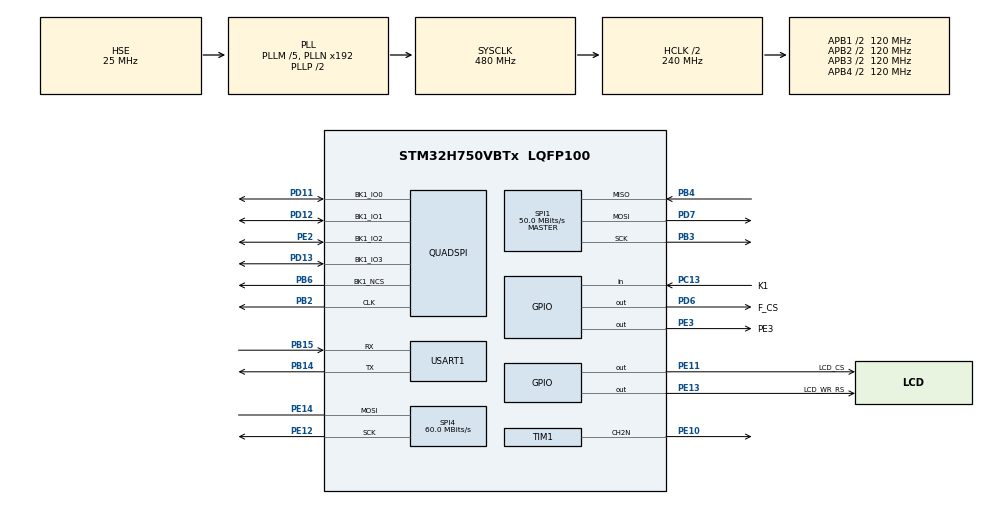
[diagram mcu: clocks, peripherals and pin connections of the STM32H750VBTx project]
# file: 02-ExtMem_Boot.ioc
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CORTEX_M7.CPU_DCache=Enabled
CORTEX_M7.CPU_ICache=Enabled
CORTEX_M7.MPU_Control=__NULL
FATFS._MAX_SS=4096
FATFS._USE_LFN=2
Mcu.Family=STM32H7
Mcu.Name=STM32H750VBTx
Mcu.Package=LQFP100
NVIC.PriorityGroup=NVIC_PRIORITYGROUP_4
PA13\ (JTMS/SWDIO).Mode=Serial_Wire
PA13\ (JTMS/SWDIO).Signal=DEBUG_JTMS-SWDIO
PA14\ (JTCK/SWCLK).Mode=Serial_Wire
PA14\ (JTCK/SWCLK).Signal=DEBUG_JTCK-SWCLK
PB14.Mode=Asynchronous
PB14.Signal=USART1_TX
PB15.Mode=Asynchronous
PB15.Signal=USART1_RX
PB2.GPIO_Speed=GPIO_SPEED_FREQ_VERY_HIGH
PB2.Mode=Single Bank 1
PB2.Signal=QUADSPI_CLK
PB3\ (JTDO/TRACESWO).GPIO_Speed=GPIO_SPEED_FREQ_VERY_HIGH
PB3\ (JTDO/TRACESWO).Mode=Full_Duplex_Master
PB3\ (JTDO/TRACESWO).Signal=SPI1_SCK
PB4\ (NJTRST).GPIO_Speed=GPIO_SPEED_FREQ_VERY_HIGH
PB4\ (NJTRST).Mode=Full_Duplex_Master
PB4\ (NJTRST).Signal=SPI1_MISO
PB6.GPIO_PuPd=GPIO_NOPULL
PB6.GPIO_Speed=GPIO_SPEED_FREQ_VERY_HIGH
PB6.Mode=Single Bank 1
PB6.Signal=QUADSPI_BK1_NCS
PC13.GPIO_Label=K1
PC13.GPIO_PuPd=GPIO_PULLDOWN
PC13.Signal=GPIO_Input
PC14-OSC32_IN\ (OSC32_IN).Mode=LSE-External-Oscillator
PC14-OSC32_IN\ (OSC32_IN).Signal=RCC_OSC32_IN
PC15-OSC32_OUT\ (OSC32_OUT).Mode=LSE-External-Oscillator
PC15-OSC32_OUT\ (OSC32_OUT).Signal=RCC_OSC32_OUT
PD11.GPIO_Speed=GPIO_SPEED_FREQ_VERY_HIGH
PD11.Mode=Single Bank 1
PD11.Signal=QUADSPI_BK1_IO0
PD12.GPIO_Speed=GPIO_SPEED_FREQ_VERY_HIGH
PD12.Mode=Single Bank 1
PD12.Signal=QUADSPI_BK1_IO1
PD13.GPIO_Speed=GPIO_SPEED_FREQ_VERY_HIGH
PD13.Mode=Single Bank 1
PD13.Signal=QUADSPI_BK1_IO3
PD6.GPIO_Label=F_CS
PD6.GPIO_Speed=GPIO_SPEED_FREQ_VERY_HIGH
PD6.PinState=GPIO_PIN_SET
PD6.Signal=GPIO_Output
PD7.GPIO_Speed=GPIO_SPEED_FREQ_VERY_HIGH
PD7.Mode=Full_Duplex_Master
PD7.Signal=SPI1_MOSI
PE10.Mode=PWM Generation2 CH2N
PE10.Signal=TIM1_CH2N
PE11.GPIO_Label=LCD_CS
PE11.GPIO_Speed=GPIO_SPEED_FREQ_VERY_HIGH
PE11.PinState=GPIO_PIN_SET
PE11.Signal=GPIO_Output
PE12.GPIO_Speed=GPIO_SPEED_FREQ_VERY_HIGH
PE12.Mode=Simplex_Bidirectional_Master
PE12.Signal=SPI4_SCK
PE13.GPIO_Label=LCD_WR_RS
PE13.GPIO_Speed=GPIO_SPEED_FREQ_VERY_HIGH
PE13.PinState=GPIO_PIN_SET
PE13.Signal=GPIO_Output
PE14.GPIO_Speed=GPIO_SPEED_FREQ_VERY_HIGH
PE14.Mode=Simplex_Bidirectional_Master
PE14.Signal=SPI4_MOSI
PE2.GPIO_Speed=GPIO_SPEED_FREQ_VERY_HIGH
PE2.Mode=Single Bank 1
PE2.Signal=QUADSPI_BK1_IO2
PE3.GPIO_Label=PE3
PE3.Signal=GPIO_Output
PH0-OSC_IN\ (PH0).Mode=HSE-External-Oscillator
PH0-OSC_IN\ (PH0).Signal=RCC_OSC_IN
PH1-OSC_OUT\ (PH1).Mode=HSE-External-Oscillator
PH1-OSC_OUT\ (PH1).Signal=RCC_OSC_OUT
ProjectManager.HeapSize=0x3000
ProjectManager.StackSize=0x3000
ProjectManager.TargetToolchain=MDK-ARM V5.27
QUADSPI.ChipSelectHighTime=QSPI_CS_HIGH_TIME_8_CYCLE
QUADSPI.ClockMode=QSPI_CLOCK_MODE_3
QUADSPI.ClockPrescaler=3
QUADSPI.FifoThreshold=32
QUADSPI.FlashSize=23-1
QUADSPI.SampleShifting=QSPI_SAMPLE_SHIFTING_HALFCYCLE
RCC.ADCFreq_Value=200000000
RCC.APB1Freq_Value=120000000
RCC.APB2Freq_Value=120000000
RCC.APB3Freq_Value=120000000
RCC.APB4Freq_Value=120000000
RCC.CortexFreq_Value=480000000
RCC.D1PPRE=RCC_APB3_DIV2
RCC.D2PPRE1=RCC_APB1_DIV2
RCC.D2PPRE2=RCC_APB2_DIV2
RCC.D3PPRE=RCC_APB4_DIV2
RCC.DIVM1=5
RCC.DIVM2=2
RCC.DIVM3=4
RCC.DIVN1=192
RCC.DIVN2=32
RCC.DIVN3=96
RCC.DIVR1=4
RCC.HCLKFreq_Value=240000000
RCC.HPRE=RCC_HCLK_DIV2
RCC.HSE_VALUE=25000000
RCC.PLL2FRACN=0
RCC.PLL3FRACN=0
RCC.PLLFRACN=0
RCC.PLLSourceVirtual=RCC_PLLSOURCE_HSE
RCC.RTCClockSelection=RCC_RTCCLKSOURCE_LSE
RCC.SPI123CLockSelection=RCC_SPI123CLKSOURCE_PLL2
RCC.SYSCLKFreq_VALUE=480000000
RCC.SYSCLKSource=RCC_SYSCLKSOURCE_PLLCLK
RCC.SupplySource=PWR_LDO_SUPPLY
RCC.USBCLockSelection=RCC_USBCLKSOURCE_HSI48
RCC.USBFreq_Value=48000000
SPI1.BaudRatePrescaler=SPI_BAUDRATEPRESCALER_4
SPI1.CalculateBaudRate=50.0 MBits/s
SPI1.DataSize=SPI_DATASIZE_8BIT
SPI1.Direction=SPI_DIRECTION_2LINES
SPI1.Mode=SPI_MODE_MASTER
SPI1.VirtualType=VM_MASTER
SPI4.CalculateBaudRate=60.0 MBits/s
SPI4.DataSize=SPI_DATASIZE_8BIT
SPI4.Direction=SPI_DIRECTION_1LINE
SPI4.Mode=SPI_MODE_MASTER
SPI4.VirtualType=VM_MASTER
TIM1.Channel-PWM\ Generation2\ CH2N=TIM_CHANNEL_2
TIM1.OCNPolarity_2=TIM_OCNPOLARITY_LOW
TIM1.Period=1000-1
TIM1.Prescaler=12-1
USART1.VirtualMode-Asynchronous=VM_ASYNC
VP_FATFS_VS_Generic.Mode=User_defined
board=custom

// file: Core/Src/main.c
/* USER CODE BEGIN Header */
/**
  ******************************************************************************
  * @file           : main.c
  * @brief          : Main program body
  ******************************************************************************
  * @attention
  *
  * <h2><center>&copy; Copyright (c) 2020 STMicroelectronics.
  * All rights reserved.</center></h2>
  *
  * This software component is licensed by ST under BSD 3-Clause license,
  * the "License"; You may not use this file except in compliance with the
  * License. You may obtain a copy of the License at:
  *                        opensource.org/licenses/BSD-3-Clause
  *
  ******************************************************************************
  */
/* USER CODE END Header */
#include "main.h"
#include "fatfs.h"
#include "tim.h"
#include "usart.h"
#include "gpio.h"

/* USER CODE BEGIN Includes */
#include "w25qxx_qspi.h"
#include "spi.h"
#include "fatfs.h"
#include <stdio.h>
#include "lcd.h"
/* USER CODE END Includes */

/* USER CODE BEGIN PTD */
extern QSPI_HandleTypeDef hqspi;
#define W25Qxx_TEST              (0)
#define APPLICATION_ADDRESS      QSPI_BASE
#define ISP_ADDRESS              (0x1FF09800UL)
typedef  void (*pFunction)(void);
/* USER CODE END PTD */

/* USER CODE BEGIN PV */
pFunction JumpToApplication;
/* USER CODE END PV */

void SystemClock_Config(void);
/* USER CODE BEGIN PFP */
static void CPU_CACHE_Disable(void);
/* USER CODE END PFP */

/* USER CODE BEGIN 0 */
#if W25Qxx_TEST == (1)
uint8_t read[4096];
uint8_t write[4096];
#endif

uint8_t app_IsReady(uint32_t addr)
{
	if(((*(__IO uint32_t*)addr) & 0x2FF80000 ) == 0x24000000)
		return SUCCESS;
	else if(((*(__IO uint32_t*)addr) & 0x2FF80000 ) == 0x20000000)
		return SUCCESS;
	else
		return ERROR;
}

void app_Jump(uint32_t addr)
{
	pFunction JumpToApplication;
	uint32_t JumpAddress;

	/* Jump to user application */
	JumpAddress = *(__IO uint32_t*) (addr + 4);
	JumpToApplication = (pFunction) JumpAddress;

	/* Initialize user application's Stack Pointer */
	__set_MSP(*(__IO uint32_t*) addr);
	JumpToApplication();
}

/* USER CODE END 0 */

int main(void)
{

  /* Enable I-Cache---------------------------------------------------------*/
  SCB_EnableICache();

  /* Enable D-Cache---------------------------------------------------------*/
  SCB_EnableDCache();

  /* MCU Configuration--------------------------------------------------------*/

  /* Reset of all peripherals, Initializes the Flash interface and the Systick. */
  HAL_Init();

  /* Configure the system clock */
  SystemClock_Config();

  /* Initialize all configured peripherals */
  MX_GPIO_Init();
  MX_SPI1_Init();
  MX_USART1_UART_Init();
  MX_FATFS_Init();
  MX_SPI4_Init();
  MX_TIM1_Init();
  /* USER CODE BEGIN 2 */
	LCD_Init();
	LCD_ShowString(0,0,160,20,16,(uint8_t*)"bootloader");
	printf("stm32h750vbt6 bootloder start!\r\n");
	/* QPIMode && NormalMode : 100Mhz Clk can run to App, Normal */
	/* QPIMode && DTRMode    : 100Mhz Clk can not run to App, need lower Clk, Recommend 50Mhz */
	/* SPIMode && NormalMode : 100Mhz Clk can run to App, Normal */
	/* SPIMode && DTRMode    : 100Mhz Clk can not run to App, need lower Clk, Recommend 50Mhz*/

	/* QPIMode && NormalMode : 120Mhz Clk can not run to App, UnNormal */
	/* QPIMode && DTRMode    : 120Mhz Clk can not run to App, need lower Clk, Recommend 60Mhz */
	/* SPIMode && NormalMode : 120Mhz Clk can run to App, Normal */
	/* SPIMode && DTRMode    : 120Mhz Clk can not run to App, need lower Clk, Recommend 60Mhz*/

	w25qxx_Init();

	w25qxx_EnterQPI();
	fatfs_test();
#if W25Qxx_TEST == (1)
	W25qxx_EraseSector(0);
	for(uint32_t j=0;j<sizeof(write);j+=256)
		for(uint32_t i=0;i<=0xff;i++)
			write[j+i] = i;
	W25qxx_WriteNoCheck(write,0,sizeof(write));
	W25qxx_Read(read,0,sizeof(read));
#endif
	w25qxx_Startup(w25qxx_DTRMode);

#if W25Qxx_TEST == (0)
  /* Reset MCU && Long Press K1 to Enter ISP Mode */
	if(HAL_GPIO_ReadPin(K1_GPIO_Port,K1_Pin) == GPIO_PIN_SET)
	{
		HAL_Delay(50);
		while(HAL_GPIO_ReadPin(K1_GPIO_Port,K1_Pin) == GPIO_PIN_SET)
		{
			HAL_GPIO_TogglePin(PE3_GPIO_Port,PE3_Pin);
			HAL_Delay(80);
		}
		HAL_QSPI_DeInit(&hqspi);
		HAL_GPIO_DeInit(GPIOA,GPIO_PIN_All);
		HAL_GPIO_DeInit(GPIOB,GPIO_PIN_All);
		HAL_GPIO_DeInit(GPIOC,GPIO_PIN_All);
		HAL_GPIO_DeInit(GPIOD,GPIO_PIN_All);
		HAL_GPIO_DeInit(GPIOE,GPIO_PIN_All);

		/* Disable CPU L1 cache before jumping to the QSPI code execution */
		CPU_CACHE_Disable();
		/* Disable Systick interrupt */
		SysTick->CTRL = 0;

		/* Initialize ISP application's Stack Pointer & Jump to ISP application */
		app_Jump(ISP_ADDRESS);
	}

  if(app_IsReady(APPLICATION_ADDRESS) == SUCCESS)
	{
		/* Disable CPU L1 cache before jumping to the QSPI code execution */
		CPU_CACHE_Disable();
		/* Disable Systick interrupt */
		SysTick->CTRL = 0;

		/* Initialize user application's Stack Pointer & Jump to user application */
		app_Jump(APPLICATION_ADDRESS);
	}
#endif
  /* USER CODE END 2 */

  /* Infinite loop */
  while (1)
  {

    /* USER CODE BEGIN 3 */
		//if(HAL_GPIO_ReadPin(K1_GPIO_Port,K1_Pin) == GPIO_PIN_SET) HAL_GPIO_WritePin(PE3_GPIO_Port,PE3_Pin,GPIO_PIN_SET);
		//else HAL_GPIO_WritePin(PE3_GPIO_Port,PE3_Pin,GPIO_PIN_RESET);
		printf("Jump To APP Error!!\r\n");
		HAL_GPIO_TogglePin(PE3_GPIO_Port,PE3_Pin);
		HAL_Delay(1000);
  }
  /* USER CODE END 3 */
}

void SystemClock_Config(void)
{
  RCC_OscInitTypeDef RCC_OscInitStruct = {0};
  RCC_ClkInitTypeDef RCC_ClkInitStruct = {0};
  RCC_PeriphCLKInitTypeDef PeriphClkInitStruct = {0};

  /** Supply configuration update enable
  */
  HAL_PWREx_ConfigSupply(PWR_LDO_SUPPLY);
  /** Configure the main internal regulator output voltage
  */
  __HAL_PWR_VOLTAGESCALING_CONFIG(PWR_REGULATOR_VOLTAGE_SCALE0);

  while(!__HAL_PWR_GET_FLAG(PWR_FLAG_VOSRDY)) {}
  /** Macro to configure the PLL clock source
  */
  __HAL_RCC_PLL_PLLSOURCE_CONFIG(RCC_PLLSOURCE_HSE);
  /** Initializes the RCC Oscillators according to the specified parameters
  * in the RCC_OscInitTypeDef structure.
  */
  RCC_OscInitStruct.OscillatorType = RCC_OSCILLATORTYPE_HSE;
  RCC_OscInitStruct.HSEState = RCC_HSE_ON;
  RCC_OscInitStruct.PLL.PLLState = RCC_PLL_ON;
  RCC_OscInitStruct.PLL.PLLSource = RCC_PLLSOURCE_HSE;
  RCC_OscInitStruct.PLL.PLLM = 5;
  RCC_OscInitStruct.PLL.PLLN = 192;
  RCC_OscInitStruct.PLL.PLLP = 2;
  RCC_OscInitStruct.PLL.PLLQ = 2;
  RCC_OscInitStruct.PLL.PLLR = 4;
  RCC_OscInitStruct.PLL.PLLRGE = RCC_PLL1VCIRANGE_2;
  RCC_OscInitStruct.PLL.PLLVCOSEL = RCC_PLL1VCOWIDE;
  RCC_OscInitStruct.PLL.PLLFRACN = 0;
  if (HAL_RCC_OscConfig(&RCC_OscInitStruct) != HAL_OK)
  {
    Error_Handler();
  }
  /** Initializes the CPU, AHB and APB buses clocks
  */
  RCC_ClkInitStruct.ClockType = RCC_CLOCKTYPE_HCLK|RCC_CLOCKTYPE_SYSCLK
                              |RCC_CLOCKTYPE_PCLK1|RCC_CLOCKTYPE_PCLK2
                              |RCC_CLOCKTYPE_D3PCLK1|RCC_CLOCKTYPE_D1PCLK1;
  RCC_ClkInitStruct.SYSCLKSource = RCC_SYSCLKSOURCE_PLLCLK;
  RCC_ClkInitStruct.SYSCLKDivider = RCC_SYSCLK_DIV1;
  RCC_ClkInitStruct.AHBCLKDivider = RCC_HCLK_DIV2;
  RCC_ClkInitStruct.APB3CLKDivider = RCC_APB3_DIV2;
  RCC_ClkInitStruct.APB1CLKDivider = RCC_APB1_DIV2;
  RCC_ClkInitStruct.APB2CLKDivider = RCC_APB2_DIV2;
  RCC_ClkInitStruct.APB4CLKDivider = RCC_APB4_DIV2;

  if (HAL_RCC_ClockConfig(&RCC_ClkInitStruct, FLASH_LATENCY_4) != HAL_OK)
  {
    Error_Handler();
  }
  PeriphClkInitStruct.PeriphClockSelection = RCC_PERIPHCLK_USART1|RCC_PERIPHCLK_SPI4
                              |RCC_PERIPHCLK_SPI1|RCC_PERIPHCLK_QSPI;
  PeriphClkInitStruct.PLL2.PLL2M = 2;
  PeriphClkInitStruct.PLL2.PLL2N = 32;
  PeriphClkInitStruct.PLL2.PLL2P = 2;
  PeriphClkInitStruct.PLL2.PLL2Q = 2;
  PeriphClkInitStruct.PLL2.PLL2R = 2;
  PeriphClkInitStruct.PLL2.PLL2RGE = RCC_PLL2VCIRANGE_3;
  PeriphClkInitStruct.PLL2.PLL2VCOSEL = RCC_PLL2VCOWIDE;
  PeriphClkInitStruct.PLL2.PLL2FRACN = 0;
  PeriphClkInitStruct.QspiClockSelection = RCC_QSPICLKSOURCE_D1HCLK;
  PeriphClkInitStruct.Spi123ClockSelection = RCC_SPI123CLKSOURCE_PLL2;
  PeriphClkInitStruct.Spi45ClockSelection = RCC_SPI45CLKSOURCE_D2PCLK1;
  PeriphClkInitStruct.Usart16ClockSelection = RCC_USART16CLKSOURCE_D2PCLK2;
  if (HAL_RCCEx_PeriphCLKConfig(&PeriphClkInitStruct) != HAL_OK)
  {
    Error_Handler();
  }
}

/* USER CODE BEGIN 4 */
/**
  * @brief  CPU L1-Cache disable.
  * @param  None
  * @retval None
  */
static void CPU_CACHE_Disable(void)
{
  /* Disable I-Cache */
  SCB_DisableICache();

  /* Disable D-Cache */
  SCB_DisableDCache();
}

/* USER CODE END 4 */

void Error_Handler(void)
{
}

/************************ (C) COPYRIGHT STMicroelectronics *****END OF FILE****/
